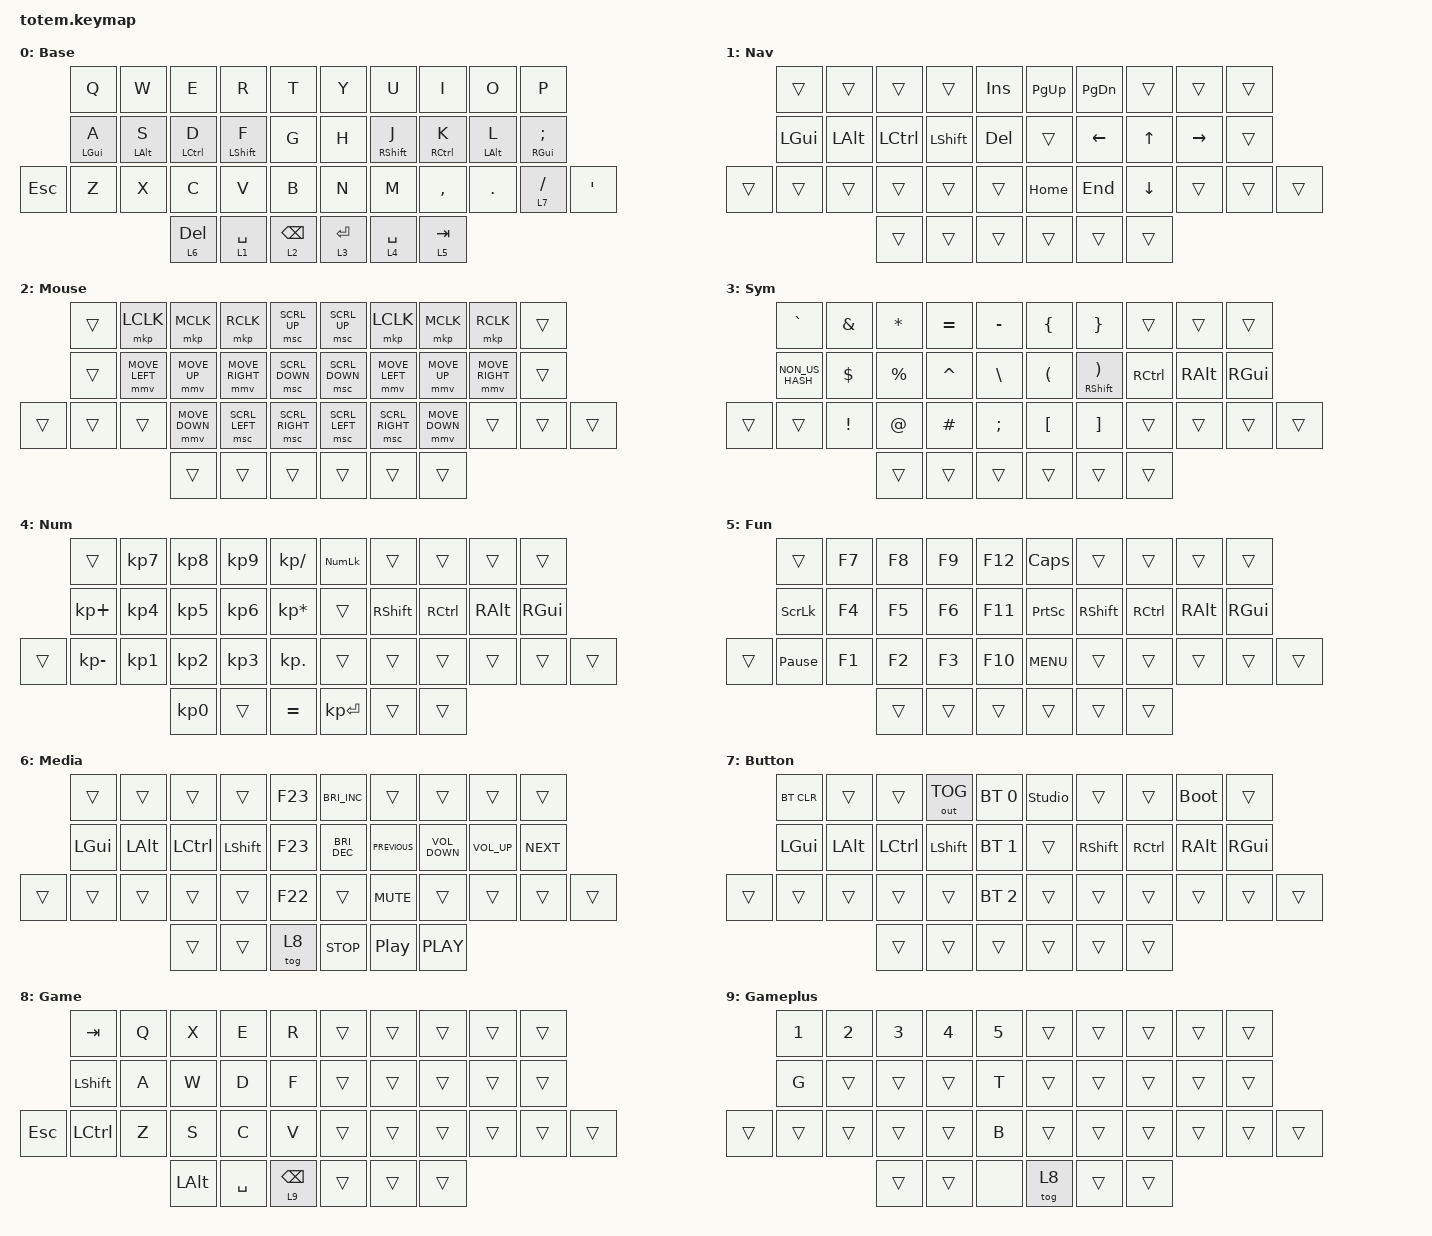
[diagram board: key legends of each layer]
//
//                                                        ▀▀▀▀▀     ▀▀▀▀▀          ▀▀█▀▀
//                                                        ▄▀▀▀▄  ▄  ▄▀▀▀▄  ▄  ▄▀▀▀▄  █  ▄▀▀▀▄
//                                                        █   █  █  █   █  █  █   █  █  █   █
//                                                         ▀▀▀   █   ▀▀▀   █   ▀▀▀   ▀   ▀▀▀
//                                                               █      ▄▄▄█▄▄▄    █   █  
//                                                               ▀      █  █  █     █▄█
//                                                             ▀▀▀▀▀    █  █  █      ▀
//                                                                      ▀  ▀  ▀
//
// ▄▄▄▄▄▄▄▄▄▄▄▄▄▄▄▄▄▄▄▄▄▄▄▄▄▄▄▄▄▄▄▄▄▄▄▄▄▄▄▄▄▄▄▄▄▄▄▄▄▄▄▄▄▄▄▄▄▄▄▄▄▄▄▄▄▄▄▄▄▄▄▄▄▄▄▄▄▄▄▄▄▄▄▄▄▄▄▄▄▄▄▄▄▄▄▄▄▄▄▄▄▄▄▄▄▄▄▄▄▄▄▄▄▄▄▄▄▄▄▄▄▄▄▄▄▄▄▄▄▄▄▄▄▄▄▄▄▄▄▄▄▄▄▄▄▄▄▄▄

#include <behaviors.dtsi>
#include <dt-bindings/zmk/bt.h>
#include <dt-bindings/zmk/keys.h>
#include <dt-bindings/zmk/outputs.h>
#include <dt-bindings/zmk/pointing.h>

#define Base        0
#define Media       1
#define Nav         2
#define Mouse       3
#define Sym         4
#define Num         5
#define Fun         6
#define Button      7
#define Game        8
#define Gameplus    9

&mt {
    quick-tap-ms = <100>;
    flavor = "tap-preferred";
    tapping-term-ms = <170>;
};

&lt {
    tapping-term-ms = <240>;
    flavor = "balanced";
    quick-tap-ms = <150>;
};

/ {
    behaviors {
        hm: homerow_mods {
            compatible = "zmk,behavior-hold-tap";
            #binding-cells = <2>;
            flavor = "tap-preferred";
            tapping-term-ms = <240>;
            quick-tap-ms = <150>;
            bindings = <&kp>, <&kp>;
        };
    };

    combos {
        compatible = "zmk,combos";

        Combo_ESC {
            bindings = <&kp ESC>;
            key-positions = <0 1>;
        };

        Combo_Cut {
            bindings = <&kp LC(X)>;
            key-positions = <23 22>;
        };

        Combo_Copy {
            bindings = <&kp LC(C)>;
            key-positions = <23 24>;
        };

        Combo_Paste {
            bindings = <&kp LC(V)>;
            key-positions = <24 25>;
        };

        Combo_Close {
            bindings = <&kp LA(F4)>;
            key-positions = <34 35>;
        };
    };

    keymap {
        compatible = "zmk,keymap";

        Base {
            display-name = "Base";
            bindings = <
            &kp Q       &kp W       &kp E         &kp R         &kp T              &kp Y         &kp U        &kp I        &kp O       &kp P
            &hm LGUI A  &hm LALT S  &hm LCTRL D   &hm LSHIFT F  &kp G              &kp H         &hm RSHFT J  &hm RCTRL K  &hm LALT L  &hm RGUI SEMICOLON
&kp ESCAPE  &kp Z       &kp X       &kp C         &kp V         &kp B              &kp N         &kp M        &kp COMMA    &kp DOT     &lt 7 SLASH         &kp SINGLE_QUOTE
                                    &lt 6 DELETE  &lt 1 SPACE   &lt 2 BACKSPACE    &lt 3 RETURN  &lt 4 SPACE  &lt 5 TAB
            >;
        };

        Nav {
            display-name = "Nav";
            bindings = <
        &trans        &trans    &trans     &trans      &kp INSERT    &kp PAGE_UP  &kp PAGE_DOWN  &trans          &trans     &trans
        &kp LEFT_GUI  &kp LALT  &kp LCTRL  &kp LSHIFT  &kp DELETE    &trans       &kp LEFT       &kp UP_ARROW    &kp RIGHT  &trans
&trans  &trans        &trans    &trans     &trans      &trans        &kp HOME     &kp END        &kp DOWN_ARROW  &trans     &trans  &trans
                                &trans     &trans      &trans        &trans       &trans         &trans
            >;
        };

        Mouse {
            display-name = "Mouse";
            bindings = <
        &trans  &mkp LCLK       &mkp MCLK       &mkp RCLK        &msc SCRL_UP       &msc SCRL_UP    &mkp LCLK        &mkp MCLK       &mkp RCLK        &trans
        &trans  &mmv MOVE_LEFT  &mmv MOVE_UP    &mmv MOVE_RIGHT  &msc SCRL_DOWN     &msc SCRL_DOWN  &mmv MOVE_LEFT   &mmv MOVE_UP    &mmv MOVE_RIGHT  &trans
&trans  &trans  &trans          &mmv MOVE_DOWN  &msc SCRL_LEFT   &msc SCRL_RIGHT    &msc SCRL_LEFT  &msc SCRL_RIGHT  &mmv MOVE_DOWN  &trans           &trans  &trans
                                &trans          &trans           &trans             &trans          &trans           &trans
            >;
        };

        Sym {
            display-name = "Sym";
            bindings = <
        &kp GRAVE        &kp AMPERSAND  &kp STAR     &kp EQUAL  &kp MINUS        &kp LEFT_BRACE        &kp RIGHT_BRACE               &trans     &trans    &trans
        &kp NON_US_HASH  &kp DOLLAR     &kp PERCENT  &kp CARET  &kp BACKSLASH    &kp LEFT_PARENTHESIS  &hm RSHIFT RIGHT_PARENTHESIS  &kp RCTRL  &kp RALT  &kp RGUI
&trans  &trans           &kp EXCL       &kp AT       &kp HASH   &kp SEMI         &kp LEFT_BRACKET      &kp RIGHT_BRACKET             &trans     &trans    &trans    &trans
                                        &trans       &trans     &trans           &trans                &trans                        &trans
            >;
        };

        Num {
            display-name = "Num";
            bindings = <
        &trans           &kp KP_NUMBER_7  &kp KP_NUMBER_8  &kp KP_NUMBER_9  &kp KP_DIVIDE      &kp KP_NUMLOCK  &trans      &trans     &trans    &trans
        &kp KP_PLUS      &kp KP_NUMBER_4  &kp KP_NUMBER_5  &kp KP_NUMBER_6  &kp KP_ASTERISK    &trans          &kp RSHIFT  &kp RCTRL  &kp RALT  &kp RGUI
&trans  &kp KP_SUBTRACT  &kp KP_NUMBER_1  &kp KP_NUMBER_2  &kp KP_NUMBER_3  &kp KP_DOT         &trans          &trans      &trans     &trans    &trans    &trans
                                          &kp KP_NUMBER_0  &trans           &kp EQUAL          &kp KP_ENTER    &trans      &trans
            >;
        };

        Fun {
            display-name = "Fun";
            bindings = <
        &trans           &kp F7  &kp F8  &kp F9  &kp F12    &kp CAPSLOCK     &trans      &trans     &trans    &trans
        &kp SCROLLLOCK   &kp F4  &kp F5  &kp F6  &kp F11    &kp PRINTSCREEN  &kp RSHIFT  &kp RCTRL  &kp RALT  &kp RGUI
&trans  &kp PAUSE_BREAK  &kp F1  &kp F2  &kp F3  &kp F10    &kp C_MENU       &trans      &trans     &trans    &trans    &trans
                                 &trans  &trans  &trans     &trans           &trans      &trans
            >;
        };

        Media {
            display-name = "Media";
            bindings = <
        &trans    &trans    &trans     &trans      &kp F23    &kp C_BRIGHTNESS_INC  &trans            &trans             &trans           &trans
        &kp LGUI  &kp LALT  &kp LCTRL  &kp LSHIFT  &kp F23    &kp C_BRIGHTNESS_DEC  &kp C_PREVIOUS    &kp C_VOLUME_DOWN  &kp C_VOLUME_UP  &kp C_NEXT
&trans  &trans    &trans    &trans     &trans      &kp F22    &trans                &kp C_MUTE        &trans             &trans           &trans      &trans
                            &trans     &trans      &tog 8     &kp C_STOP            &kp C_PLAY_PAUSE  &kp C_PLAY
            >;
        };

        Button {
            display-name = "Button";
            bindings = <
        &bt BT_CLR  &trans    &trans     &out OUT_TOG  &bt BT_SEL 0    &studio_unlock  &trans      &trans     &bootloader  &trans
        &kp LGUI    &kp LALT  &kp LCTRL  &kp LSHIFT    &bt BT_SEL 1    &trans          &kp RSHIFT  &kp RCTRL  &kp RALT     &kp RGUI
&trans  &trans      &trans    &trans     &trans        &bt BT_SEL 2    &trans          &trans      &trans     &trans       &trans    &trans
                              &trans     &trans        &trans          &trans          &trans      &trans
            >;
        };

        Game {
            display-name = "Game";
            bindings = <
            &kp TAB         &kp Q  &kp X     &kp E      &kp R              &trans  &trans  &trans  &trans  &trans
            &kp LEFT_SHIFT  &kp A  &kp W     &kp D      &kp F              &trans  &trans  &trans  &trans  &trans
&kp ESCAPE  &kp LCTRL       &kp Z  &kp S     &kp C      &kp V              &trans  &trans  &trans  &trans  &trans  &trans
                                   &kp LALT  &kp SPACE  &lt 9 BACKSPACE    &trans  &trans  &trans
            >;
        };

        Gameplus {
            display-name = "Gameplus";
            bindings = <
        &kp NUMBER_1  &kp NUMBER_2  &kp NUMBER_3  &kp NUMBER_4  &kp NUMBER_5    &trans  &trans  &trans  &trans  &trans
        &kp G         &trans        &trans        &trans        &kp T           &trans  &trans  &trans  &trans  &trans
&trans  &trans        &trans        &trans        &trans        &kp B           &trans  &trans  &trans  &trans  &trans  &trans
                                    &trans        &trans        &none           &tog 8  &trans  &trans
            >;
        };
    };
};
